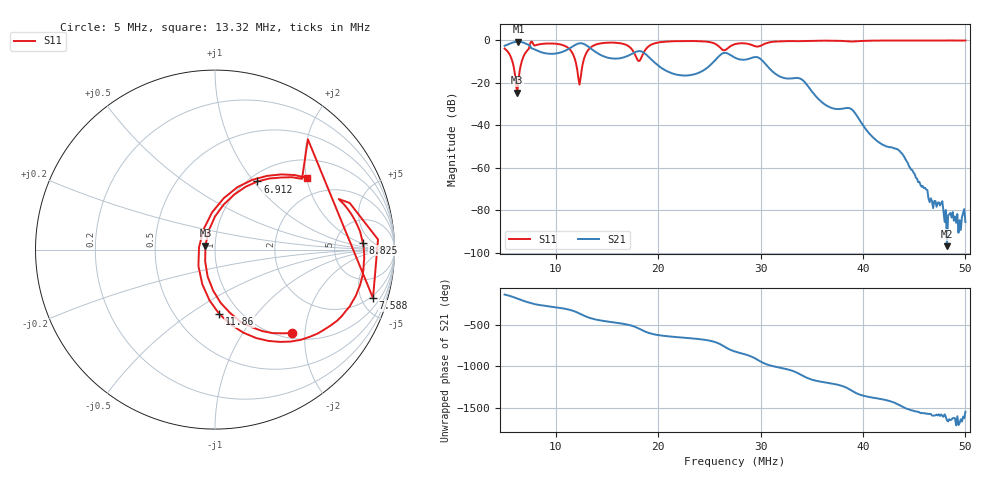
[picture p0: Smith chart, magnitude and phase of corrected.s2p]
! S11/S21 only; reverse parameters are placeholders. Device calibration unverified.
! [Saver CAL applied] C:\Users\aknya\MyProjects\rf-simulator\calibration2.cal | Ideal standards assumed | Input: NanoVNA F V2 profile | COM3 | 2026-09-08T11:59:01.2004156-04:00 | device calibration unverified
# HZ S RI R 50
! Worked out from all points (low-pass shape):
!   401 points, 5 MHz to 50 MHz, reference 50 ohm
!   highest |S21| = -0.69 dB at 6.35 MHz (marker M1); lowest = -96.9 dB at 48.2 MHz (marker M2)
!   |S21| within 3 dB of the highest: start of sweep to 7.591 MHz; 11.4 MHz to 13.35 MHz (1.946 MHz wide, 15.7 % of centre)
!   lowest |S11| = -24.8 dB at 6.237 MHz (marker M3), VSWR 1.12, Z = 44.9 + j2.01 ohm
!   |S11| at or under -10 dB: 5.756 MHz to 6.676 MHz (919.7 kHz wide, 14.8 % of centre); 11.92 MHz to 12.69 MHz (765.2 kHz wide, 6.22 % of centre)
!   S12 and S22 are empty: the file has one direction only
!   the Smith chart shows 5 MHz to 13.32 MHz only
!   S11 on the Smith chart (normalised r, x): 5 MHz: 1.11, -1.72; 6.912 MHz: 1.10, +1.04; 7.588 MHz: 1.74, -6.19; 8.825 MHz: 10, +2; 11.86 MHz: 0.81, -0.66; 13.32 MHz: 1.46, +2.01
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5000000  0.4315 -0.4643  -0.4969 -0.5464  0 0  0 0
6237500  -0.0534 0.0223  -0.9218 0.00147  0 0  0 0
6350000  -0.0354 0.1048  -0.9197 0.0874  0 0  0 0
6912500  0.2365 0.3797  -0.7369 0.4454  0 0  0 0
7587500  0.8803 -0.27  -0.3654 0.5433  0 0  0 0
8825000  0.8232 0.0393  -0.0315 0.4994  0 0  0 0
1.18625e7  0.0235 -0.3583  0.7007 0.3064  0 0  0 0
1.25375e7  -0.0158 0.2082  0.816 -0.2073  0 0  0 0
1.3325e7  0.5128 0.399  0.3827 -0.5385  0 0  0 0
1.59125e7  0.7897 -0.3574  -0.1398 -0.34  0 0  0 0
1.72625e7  0.2167 -0.6375  -0.3622 -0.2737  0 0  0 0
1.805e7  -0.3223 -0.0508  -0.5509 -0.0115  0 0  0 0
1.88375e7  0.2407 0.5873  -0.3243 0.3201  0 0  0 0
2.0075e7  0.8338 0.3023  -0.0311 0.2444  0 0  0 0
2.33375e7  0.9119 -0.2777  0.0805 0.1307  0 0  0 0
2.615e7  0.4979 -0.3895  0.4441 -0.1403  0 0  0 0
2.75e7  0.7562 -0.2811  -0.0639 -0.381  0 0  0 0
3.03125e7  0.7437 -0.3053  -0.1525 0.2638  0 0  0 0
3.50375e7  0.7008 -0.6656  0.0103 -0.0601  0 0  0 0
4.2575e7  0.4438 -0.8733  0.00278 0.00125  0 0  0 0
4.82e7  0.2267 -0.9542  -1.24e-05 7.18e-06  0 0  0 0
5e7  0.159 -0.9669  -1.53e-05 -5.07e-05  0 0  0 0
